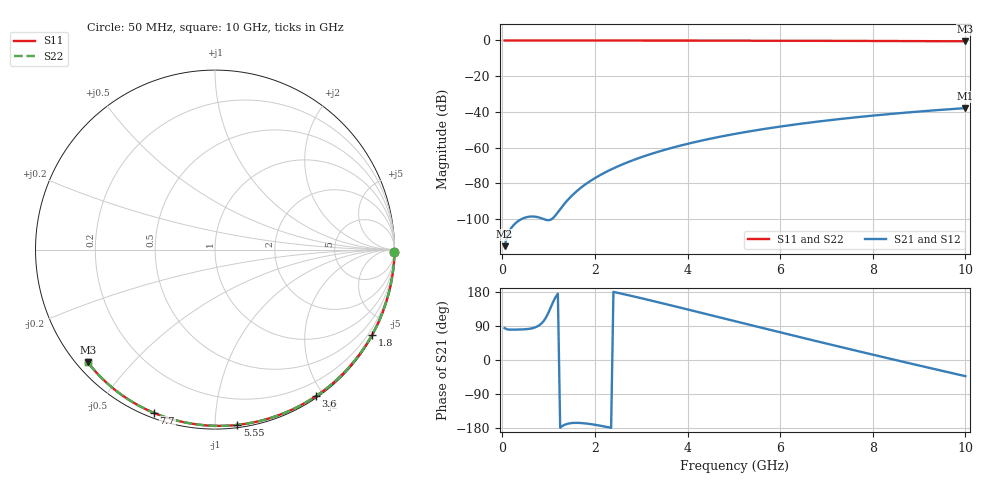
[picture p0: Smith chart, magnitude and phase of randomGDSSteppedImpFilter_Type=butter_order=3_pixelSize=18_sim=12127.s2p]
! freq	dB(S11)	phase(S11)	dB(S12)	phase(S12)
!  dB(S21)	phase(S21)	dB(S22)	phase(S22)
!S-par simulation data
#  GHz  S  DB  R 50
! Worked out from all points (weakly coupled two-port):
!   200 points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, 50 MHz to 10 GHz, reference 50 ohm
!   highest |S21| = -37.91 dB at 10 GHz (marker M1); lowest = -115.3 dB at 50 MHz (marker M2)
!   lowest |S11| = -0.5 dB at 10 GHz (marker M3), VSWR 36.91, Z = 1.55 - j18.9 ohm
!   |S11| at or under -10 dB: nowhere
!   |S22| runs from -0.5 to 0.0 dB; largest |S21 - S12| = 0
!   S11 on the Smith chart (normalised r, x): 50 MHz: open; 1.8 GHz: 0.03, -3.95; 3.6 GHz: 0.02, -1.90; 5.55 GHz: 0.02, -1.13; 7.7 GHz: 0.02, -0.69; 10 GHz: 0.03, -0.38
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0.05  -0.00 -0.8  -115.27 84.1  -115.27 84.1  -0.00 -0.8
0.45  -0.01 -7.2  -99.67 80.8  -99.67 80.8  -0.01 -7.2
0.9  -0.02 -14.3  -100.17 103.9  -100.17 103.9  -0.02 -14.3
1.75  -0.04 -27.6  -81.48 -166.8  -81.48 -166.8  -0.04 -27.6
1.8  -0.04 -28.4  -80.53 -167.4  -80.53 -167.4  -0.04 -28.4
1.85  -0.04 -29.2  -79.63 -168.2  -79.63 -168.2  -0.04 -29.2
2.05  -0.04 -32.3  -76.37 -171.9  -76.37 -171.9  -0.04 -32.3
2.25  -0.05 -35.3  -73.55 -176.5  -73.55 -176.5  -0.05 -35.3
2.55  -0.05 -39.9  -69.92 175.7  -69.92 175.7  -0.05 -39.9
2.95  -0.06 -45.9  -65.88 164.6  -65.88 164.6  -0.06 -45.9
3.4  -0.07 -52.6  -62.09 151.4  -62.09 151.4  -0.07 -52.6
3.6  -0.07 -55.5  -60.61 145.5  -60.61 145.5  -0.07 -55.5
3.9  -0.08 -59.8  -58.56 136.5  -58.56 136.5  -0.08 -59.8
4.3  -0.09 -65.5  -56.12 124.4  -56.12 124.4  -0.09 -65.5
5.05  -0.12 -76.0  -52.23 101.7  -52.23 101.7  -0.12 -76.0
5.55  -0.14 -82.8  -50.03 86.6  -50.03 86.6  -0.14 -82.8
6.1  -0.16 -90.1  -47.89 70.1  -47.89 70.1  -0.16 -90.1
6.7  -0.19 -97.9  -45.82 52.2  -45.82 52.2  -0.19 -97.9
7.7  -0.25 -110.5  -42.89 22.8  -42.89 22.8  -0.25 -110.5
8.35  -0.30 -118.5  -41.27 4.0  -41.27 4.0  -0.30 -118.5
9.2  -0.38 -128.8  -39.41 -20.2  -39.41 -20.2  -0.38 -128.8
10  -0.47 -138.5  -37.91 -42.7  -37.91 -42.7  -0.47 -138.5
